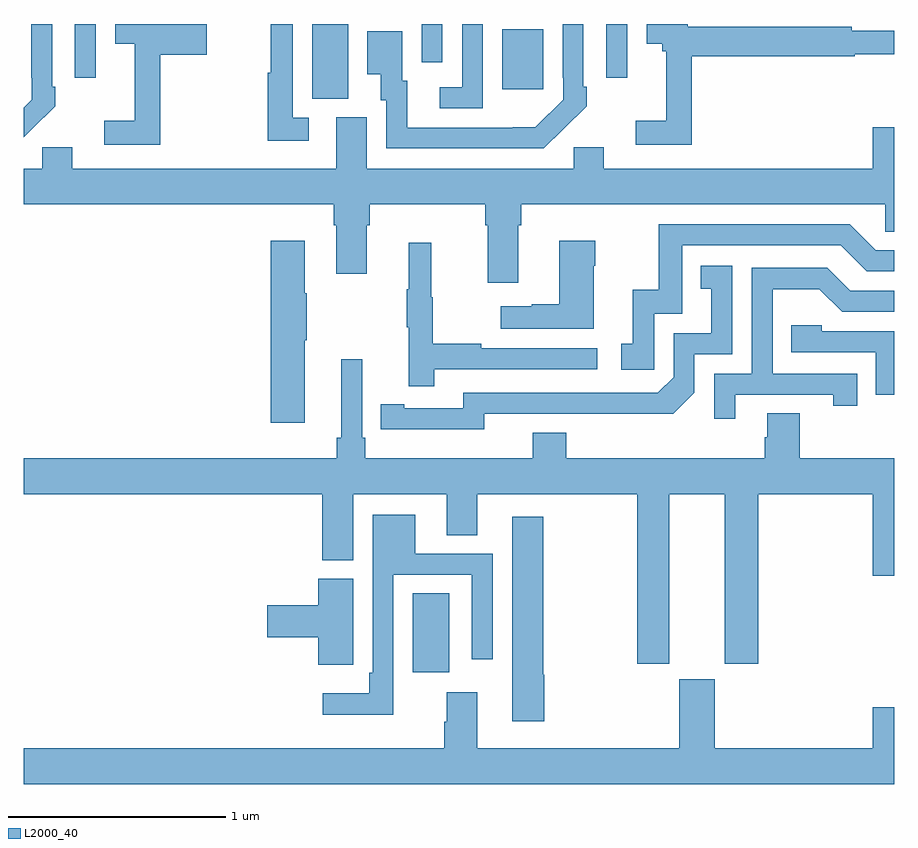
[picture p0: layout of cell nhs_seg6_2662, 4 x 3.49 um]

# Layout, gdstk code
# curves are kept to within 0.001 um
import gdstk
lib = gdstk.Library(unit=1e-6, precision=1e-09)
def R(c, l, rs):  # rectangles x0, y0, x1, y1
    for r in rs: c.add(gdstk.rectangle(r[:2], r[2:], *l))
def P(c, l, *ps):  # polygons
    for p in ps: c.add(gdstk.Polygon(p, *l))
L2000_40 = (2000, 40)

nhs_seg6_2662 = lib.new_cell('nhs_seg6_2662')
R(nhs_seg6_2662, L2000_40, [(270.788,942.522,270.955,942.884), (270.326,945.157,270.49,945.5), (271.199,945.201,271.387,945.475), (269.235,945.252,269.331,945.5), (271.677,945.252,271.773,945.5), (270.828,945.324,270.924,945.5)])
P(nhs_seg6_2662, L2000_40, [(270.31,945.069),(270.237,945.069),(270.237,945.5),(270.136,945.5),(270.136,945.276),(270.121,945.276),(270.121,944.964),(270.31,944.964)],
  [(272.069,945.352),(272.818,945.352),(272.818,945.36),(273,945.36),(273,945.469),(272.804,945.469),(272.804,945.488),(272.05,945.488),(272.05,945.5),(271.862,945.5),(271.862,945.41),(271.934,945.41),(271.934,945.375),(271.952,945.375),(271.952,945.055),(271.812,945.055),(271.812,944.946),(272.069,944.946)],
  [(269.039,945.019),(269.04,945.018),(269.145,945.123),(269.145,945.211),(269.13,945.211),(269.13,945.5),(269.034,945.5),(269.034,945.253),(269.037,945.253),(269.037,945.153),(269,945.116),(269,944.98)],
  [(269.627,945.359),(269.842,945.359),(269.842,945.5),(269.42,945.5),(269.42,945.41),(269.51,945.41),(269.51,945.055),(269.37,945.055),(269.37,944.946),(269.627,944.946)],
  [(271.11,945.5),(271.014,945.5),(271.014,945.21),(270.912,945.21),(270.912,945.114),(271.11,945.114)],
  [(271.481,945.019),(271.482,945.018),(271.587,945.123),(271.587,945.211),(271.572,945.211),(271.572,945.5),(271.476,945.5),(271.476,945.253),(271.479,945.253),(271.479,945.153),(271.351,945.025),(270.763,945.024),(270.763,945.24),(270.739,945.24),(270.739,945.466),(270.578,945.466),(270.578,945.269),(270.641,945.269),(270.641,945.15),(270.666,945.15),(270.666,944.928),(271.39,944.928)],
  [(271.273,944.576),(271.286,944.576),(271.286,944.672),(272.958,944.672),(272.958,944.545),(273,944.545),(273,945.025),(272.9,945.025),(272.9,944.836),(271.666,944.836),(271.666,944.934),(271.527,944.934),(271.527,944.836),(270.577,944.836),(270.577,945.072),(270.437,945.072),(270.437,944.836),(269.224,944.836),(269.224,944.934),(269.085,944.934),(269.085,944.836),(269,944.836),(269,944.672),(270.425,944.672),(270.425,944.576),(270.437,944.576),(270.437,944.352),(270.577,944.352),(270.577,944.576),(270.59,944.576),(270.59,944.672),(271.121,944.672),(271.121,944.576),(271.133,944.576),(271.133,944.31),(271.273,944.31)],
  [(271.896,944.169),(272.025,944.169),(272.025,944.484),(272.754,944.484),(272.874,944.364),(273,944.364),(273,944.46),(272.916,944.46),(272.796,944.58),(271.917,944.58),(271.917,944.278),(271.799,944.278),(271.799,944.031),(271.746,944.031),(271.746,943.911),(271.896,943.911)],
  [(271.618,944.39),(271.626,944.39),(271.626,944.503),(271.46,944.503),(271.46,944.213),(271.334,944.213),(271.334,944.203),(271.191,944.203),(271.191,944.099),(271.618,944.099)],
  [(270.292,944.047),(270.3,944.047),(270.3,944.264),(270.292,944.264),(270.292,944.503),(270.134,944.503),(270.134,943.668),(270.292,943.668)],
  [(270.887,943.914),(271.636,943.914),(271.636,944.01),(271.103,944.01),(271.103,944.03),(270.88,944.03),(270.88,944.244),(270.872,944.244),(270.872,944.494),(270.77,944.494),(270.77,944.281),(270.759,944.281),(270.759,944.107),(270.77,944.107),(270.77,943.836),(270.887,943.836)],
  [(271.116,943.71),(271.984,943.709),(272.082,943.806),(272.082,943.983),(272.256,943.983),(272.256,944.389),(272.11,944.389),(272.11,944.283),(272.159,944.283),(272.159,944.079),(271.986,944.079),(271.986,943.878),(271.914,943.806),(271.02,943.806),(271.02,943.734),(270.748,943.734),(270.748,943.754),(270.64,943.754),(270.64,943.638),(271.116,943.637)],
  [(272.269,943.797),(272.72,943.797),(272.72,943.746),(272.831,943.746),(272.831,943.893),(272.442,943.893),(272.442,944.282),(272.656,944.282),(272.76,944.178),(273,944.178),(273,944.274),(272.797,944.274),(272.692,944.379),(272.346,944.379),(272.346,943.893),(272.172,943.893),(272.172,943.686),(272.269,943.686)],
  [(273,944.088),(272.667,944.088),(272.667,944.115),(272.527,944.115),(272.527,943.992),(272.916,943.992),(272.916,943.797),(273,943.797)],
  [(271.966,943.34),(272.222,943.34),(272.222,942.561),(272.375,942.561),(272.375,943.34),(272.9,943.34),(272.9,942.966),(273,942.966),(273,943.504),(272.565,943.504),(272.565,943.712),(272.417,943.712),(272.417,943.602),(272.405,943.602),(272.405,943.504),(271.493,943.504),(271.493,943.621),(271.34,943.621),(271.34,943.504),(270.569,943.504),(270.569,943.6),(270.555,943.6),(270.555,943.96),(270.458,943.96),(270.458,943.6),(270.439,943.6),(270.439,943.504),(269,943.504),(269,943.34),(270.371,943.34),(270.371,943.036),(270.514,943.036),(270.514,943.34),(270.944,943.34),(270.944,943.15),(271.084,943.15),(271.084,943.34),(271.819,943.34),(271.819,942.561),(271.966,942.561)],
  [(270.699,942.969),(271.059,942.969),(271.059,942.582),(271.155,942.582),(271.155,943.065),(270.799,943.065),(270.799,943.246),(270.603,943.246),(270.603,942.52),(270.587,942.52),(270.587,942.424),(270.375,942.424),(270.375,942.326),(270.699,942.326)],
  [(271.391,942.509),(271.386,942.509),(271.386,943.237),(271.244,943.237),(271.244,942.297),(271.391,942.297)],
  [(270.513,942.667),(270.514,942.667),(270.514,942.951),(270.353,942.951),(270.353,942.83),(270.12,942.83),(270.12,942.683),(270.353,942.683),(270.353,942.555),(270.513,942.555)],
  [(273,942.361),(272.9,942.361),(272.9,942.172),(272.176,942.172),(272.176,942.489),(272.012,942.489),(272.012,942.172),(271.084,942.172),(271.084,942.43),(270.944,942.43),(270.944,942.293),(270.932,942.293),(270.932,942.172),(269,942.172),(269,942.008),(273,942.008)])

lib.write_gds('nhs_seg6_2662.gds')
